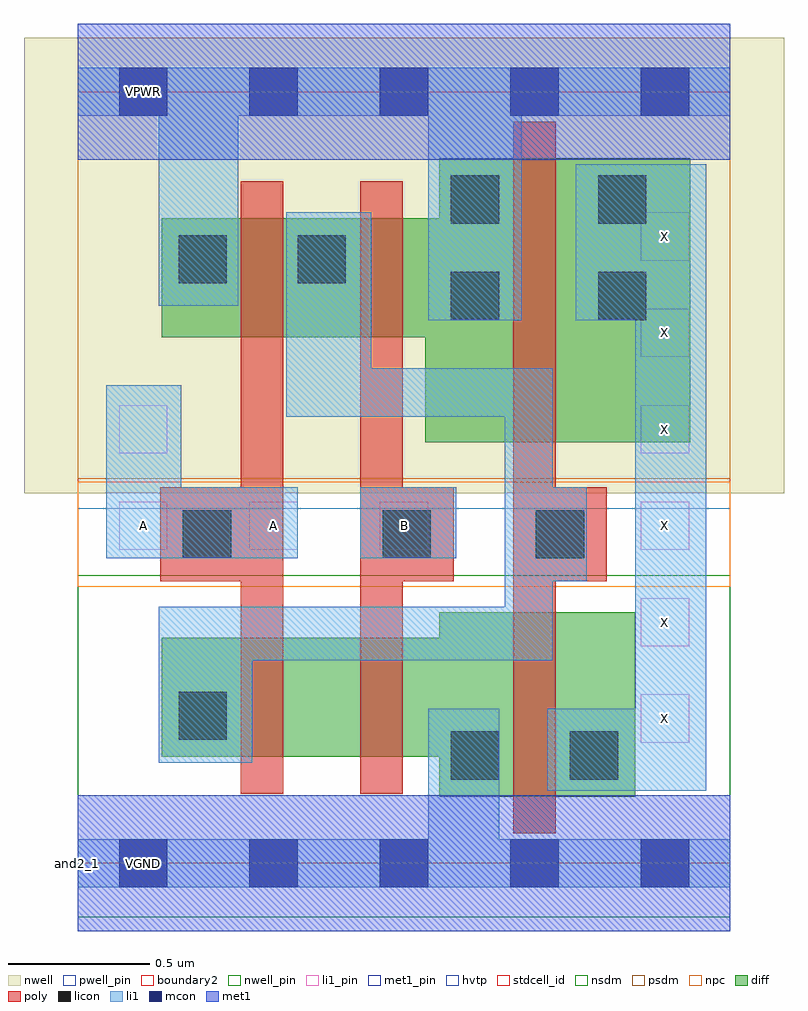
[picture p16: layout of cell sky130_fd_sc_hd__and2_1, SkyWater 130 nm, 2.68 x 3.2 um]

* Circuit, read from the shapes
.subckt sky130_fd_sc_hd__and2_1 A B VGND VNB VPB VPWR X
XM1 n1 A n2 VNB sky130_fd_pr__nfet_01v8 w=0.42 l=0.15
XM2 VGND B n1 VNB sky130_fd_pr__nfet_01v8 w=0.42 l=0.15
XM3 X n2 VGND VNB sky130_fd_pr__nfet_01v8 w=0.65 l=0.15
XM4 n2 A VPWR VPB sky130_fd_pr__pfet_01v8_hvt w=0.42 l=0.15
XM5 VPWR B n2 VPB sky130_fd_pr__pfet_01v8_hvt w=0.42 l=0.15
XM6 X n2 VPWR VPB sky130_fd_pr__pfet_01v8_hvt w=1 l=0.15
.ends

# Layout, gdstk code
import gdstk
lib = gdstk.Library(unit=1e-6, precision=1e-09)
def R(c, l, rs):  # rectangles x0, y0, x1, y1
    for r in rs: c.add(gdstk.rectangle(r[:2], r[2:], *l))
def A(c, l, x, y, w, h, nx, ny, dx, dy):  # array of equal rectangles
    R(c, l, [(x+i*dx, y+j*dy, x+i*dx+w, y+j*dy+h) for i in range(nx) for j in range(ny)])
def P(c, l, *ps):  # polygons
    for p in ps: c.add(gdstk.Polygon(p, *l))
nwell_pin = (64, 16)
nwell = (64, 20)
diff = (65, 20)
poly = (66, 20)
licon = (66, 44)
li1_pin = (67, 16)
li1 = (67, 20)
mcon = (67, 44)
met1_pin = (68, 16)
met1 = (68, 20)
hvtp = (78, 44)
stdcell_id = (81, 4)
nsdm = (93, 44)
psdm = (94, 20)
npc = (95, 20)
pwell_pin = (122, 16)
boundary2 = (236, 0)

sky130_fd_sc_hd__and2_1 = lib.new_cell('sky130_fd_sc_hd__and2_1')
R(sky130_fd_sc_hd__and2_1, nwell_pin, [(0.145,2.635,0.315,2.805)])
R(sky130_fd_sc_hd__and2_1, nwell, [(-0.19,1.305,2.49,2.91)])
P(sky130_fd_sc_hd__and2_1, diff, [(1.965,0.885),(1.275,0.885),(1.275,0.795),(0.295,0.795),(0.295,0.375),(1.275,0.375),(1.275,0.235),(1.965,0.235)],
  [(2.16,2.485),(1.275,2.485),(1.275,2.275),(0.295,2.275),(0.295,1.855),(1.225,1.855),(1.225,1.485),(2.16,1.485)])
P(sky130_fd_sc_hd__and2_1, poly, [(1.865,1.325),(1.685,1.325),(1.685,2.615),(1.535,2.615),(1.535,0.105),(1.685,0.105),(1.685,0.995),(1.865,0.995)],
  [(0.725,2.405),(0.575,2.405),(0.575,1.325),(0.29,1.325),(0.29,0.995),(0.575,0.995),(0.575,0.245),(0.725,0.245)],
  [(1.325,1.325),(1.145,1.325),(1.145,2.405),(0.995,2.405),(0.995,0.245),(1.145,0.245),(1.145,0.995),(1.325,0.995)])
R(sky130_fd_sc_hd__and2_1, licon, [(1.315,0.295,1.485,0.465), (1.735,0.295,1.905,0.465), (0.355,0.435,0.525,0.605), (0.37,1.075,0.54,1.245), (1.075,1.075,1.245,1.245), (1.615,1.075,1.785,1.245), (1.315,1.915,1.485,2.085), (1.835,1.915,2.005,2.085), (0.355,2.045,0.525,2.215), (0.775,2.045,0.945,2.215), (1.315,2.255,1.485,2.425), (1.835,2.255,2.005,2.425)])
A(sky130_fd_sc_hd__and2_1, li1_pin, 1.985, 0.425, 0.17, 0.17, 1, 6, 0, 0.34)
A(sky130_fd_sc_hd__and2_1, li1_pin, 0.145, 1.105, 0.17, 0.17, 3, 1, 0.46, 0)
R(sky130_fd_sc_hd__and2_1, li1_pin, [(0.145,1.445,0.315,1.615)])
R(sky130_fd_sc_hd__and2_1, li1, [(0.995,1.075,1.335,1.325)])
P(sky130_fd_sc_hd__and2_1, li1, [(2.215,2.465),(1.755,2.465),(1.755,1.915),(1.965,1.915),(1.965,0.545),(1.655,0.545),(1.655,0.255),(2.215,0.255)],
  [(2.3,2.805),(0,2.805),(0,2.635),(0.285,2.635),(0.285,1.965),(0.565,1.965),(0.565,2.635),(1.235,2.635),(1.235,1.915),(1.565,1.915),(1.565,2.635),(2.3,2.635)],
  [(0.1,1.075),(0.1,1.685),(0.365,1.685),(0.365,1.325),(0.775,1.325),(0.775,1.075)],
  [(2.3,0.085),(1.485,0.085),(1.485,0.545),(1.235,0.545),(1.235,0.085),(0,0.085),(0,-0.085),(2.3,-0.085)],
  [(1.795,1.325),(1.675,1.325),(1.675,1.745),(1.035,1.745),(1.035,2.295),(0.735,2.295),(0.735,1.575),(1.505,1.575),(1.505,0.905),(0.285,0.905),(0.285,0.355),(0.615,0.355),(0.615,0.715),(1.675,0.715),(1.675,0.995),(1.795,0.995)])
A(sky130_fd_sc_hd__and2_1, mcon, 0.145, -0.085, 0.17, 0.17, 5, 2, 0.46, 2.72)
R(sky130_fd_sc_hd__and2_1, met1_pin, [(0.145,-0.085,0.315,0.085), (0.145,2.635,0.315,2.805)])
R(sky130_fd_sc_hd__and2_1, hvtp, [(0,1.25,2.3,2.72)])
R(sky130_fd_sc_hd__and2_1, stdcell_id, [(0,0,2.3,2.72)])
R(sky130_fd_sc_hd__and2_1, nsdm, [(0,-0.19,2.3,1.015)])
R(sky130_fd_sc_hd__and2_1, psdm, [(0,1.355,2.3,2.91)])
R(sky130_fd_sc_hd__and2_1, npc, [(0,0.975,2.3,1.345)])
R(sky130_fd_sc_hd__and2_1, pwell_pin, [(0.145,-0.085,0.315,0.085)])
R(sky130_fd_sc_hd__and2_1, boundary2, [(0,0,2.3,2.72)])
sky130_fd_sc_hd__and2_1.add(gdstk.FlexPath([(0,0),(2.3,0)], 0.48, ends="flush", simple_path=True, layer=68, datatype=20))  # met1
sky130_fd_sc_hd__and2_1.add(gdstk.FlexPath([(0,2.72),(2.3,2.72)], 0.48, ends="flush", simple_path=True, layer=68, datatype=20))  # met1
sky130_fd_sc_hd__and2_1.add(gdstk.Label('VPWR', (0.23,2.72), layer=68, texttype=5))
sky130_fd_sc_hd__and2_1.add(gdstk.Label('VGND', (0.23,0), layer=68, texttype=5))
sky130_fd_sc_hd__and2_1.add(gdstk.Label('X', (2.07,0.85), layer=67, texttype=5))
sky130_fd_sc_hd__and2_1.add(gdstk.Label('X', (2.07,0.51), layer=67, texttype=5))
sky130_fd_sc_hd__and2_1.add(gdstk.Label('X', (2.07,1.19), layer=67, texttype=5))
sky130_fd_sc_hd__and2_1.add(gdstk.Label('X', (2.07,1.53), layer=67, texttype=5))
sky130_fd_sc_hd__and2_1.add(gdstk.Label('X', (2.07,1.87), layer=67, texttype=5))
sky130_fd_sc_hd__and2_1.add(gdstk.Label('X', (2.07,2.21), layer=67, texttype=5))
sky130_fd_sc_hd__and2_1.add(gdstk.Label('B', (1.15,1.19), layer=67, texttype=5))
sky130_fd_sc_hd__and2_1.add(gdstk.Label('A', (0.69,1.19), layer=67, texttype=5))
sky130_fd_sc_hd__and2_1.add(gdstk.Label('A', (0.23,1.19), layer=67, texttype=5))
sky130_fd_sc_hd__and2_1.add(gdstk.Label('VPB', (0.23,2.72), layer=64, texttype=5))
sky130_fd_sc_hd__and2_1.add(gdstk.Label('VNB', (0.23,0), layer=64, texttype=59))
sky130_fd_sc_hd__and2_1.add(gdstk.Label('and2_1', (0,0), layer=83, texttype=44))

lib.write_gds('sky130_fd_sc_hd__and2_1.gds')
